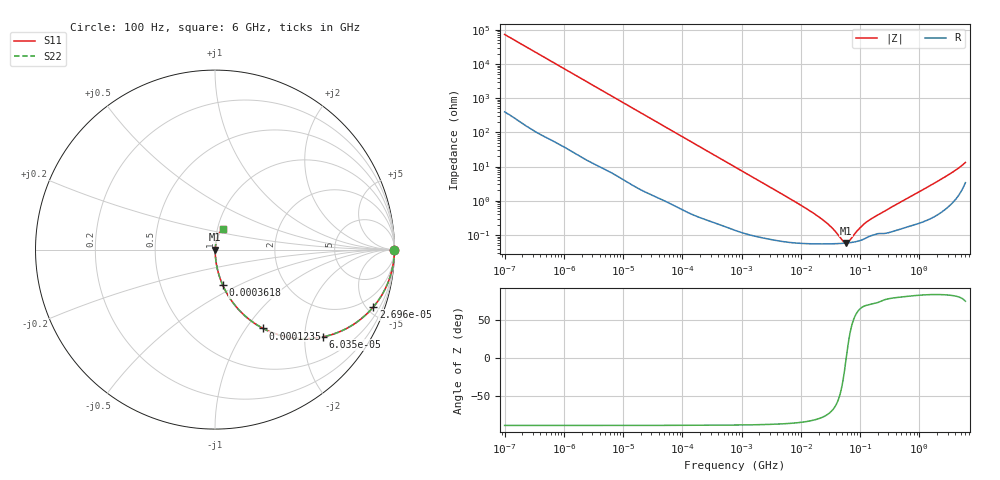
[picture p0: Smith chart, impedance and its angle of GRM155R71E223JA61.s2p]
!Murata Part Number: GRM155R71E223JA61
!These Parameters are Measured in Series Mode Connection
!Data Generated on Mar 30, 2021
!  o--ll--o
!Port1  Port2
!  o------o
!Operation Temp=25[degC], DC Bias Voltage=0[V]
!Freq. Start=100[Hz] Stop=6[GHz] 401[Steps]
# Hz S RI R 50
!Freq.(Hz) S11(Real) S11(Imag) S21(Real) S21(Imag) S12(Real) S12(Imag) S22(Real) S22(Imag)
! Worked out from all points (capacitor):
!   401 points, 100 Hz to 6 GHz, reference 50 ohm
!   read as one part in series: C = 21.8 nF near 109 Hz
!   lowest |Z| = 58.2 mohm at 56.99 MHz (marker M1)
!   series resonance near 58.46 MHz, so ESL is about 340 pH
!   S11 on the Smith chart (normalised r, x): 100 Hz: open; 26.96 kHz: 1.03, -5.50; 60.35 kHz: 1.02, -2.46; 123.5 kHz: 1.01, -1.21; 361.8 kHz: 1.00, -0.41; 6 GHz: 1.07, +0.25
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100  1 -0.00137  9.4e-06 0.00137  9.4e-06 0.00137  1 -0.00137
2008  0.9991 -0.0273  0.000885 0.0273  0.000885 0.0273  0.9991 -0.0273
8801  0.9853 -0.1174  0.0147 0.1174  0.0147 0.1174  0.9853 -0.1174
26957  0.8816 -0.3201  0.1184 0.3201  0.1184 0.3201  0.8816 -0.3201
40335  0.7704 -0.4173  0.2296 0.4173  0.2296 0.4173  0.7704 -0.4173
60352  0.602 -0.4861  0.398 0.4861  0.398 0.4861  0.602 -0.4861
86348  0.4269 -0.4911  0.5731 0.4911  0.5731 0.4911  0.4269 -0.4911
123542  0.2685 -0.4394  0.7315 0.4394  0.7315 0.4394  0.2685 -0.4394
202169  0.1222 -0.3232  0.8778 0.3232  0.8778 0.3232  0.1222 -0.3232
361830  0.043 -0.1976  0.957 0.1976  0.957 0.1976  0.043 -0.1976
774597  0.0107 -0.096  0.9893 0.096  0.9893 0.096  0.0107 -0.096
2481164  0.00172 -0.0304  0.9983 0.0304  0.9983 0.0304  0.00172 -0.0304
1.555665e7  0.000572 -0.00456  0.9994 0.00456  0.9994 0.00456  0.000572 -0.00456
2.911731e7  0.000553 -0.00197  0.9994 0.00197  0.9994 0.00197  0.000553 -0.00197
4.983056e7  0.000568 -0.000418  0.9994 0.000418  0.9994 0.000418  0.000568 -0.000418
5.699437e7  0.000578 -6.56e-05  0.9994 6.56e-05  0.9994 6.56e-05  0.000578 -6.56e-05
6.518806e7  0.000592 0.000286  0.9994 -0.000286  0.9994 -0.000286  0.000592 0.000286
9.326766e7  0.000663 0.00127  0.9993 -0.00127  0.9993 -0.00127  0.000663 0.00127
1.275994e8  0.000829 0.00222  0.9992 -0.00222  0.9992 -0.00222  0.000829 0.00222
3.124326e8  0.00122 0.00587  0.9988 -0.00587  0.9988 -0.00587  0.00122 0.00587
2.34314e9  0.00632 0.0421  0.9937 -0.0421  0.9937 -0.0421  0.00632 0.0421
6e9  0.0472 0.1175  0.9528 -0.1175  0.9528 -0.1175  0.0472 0.1175
